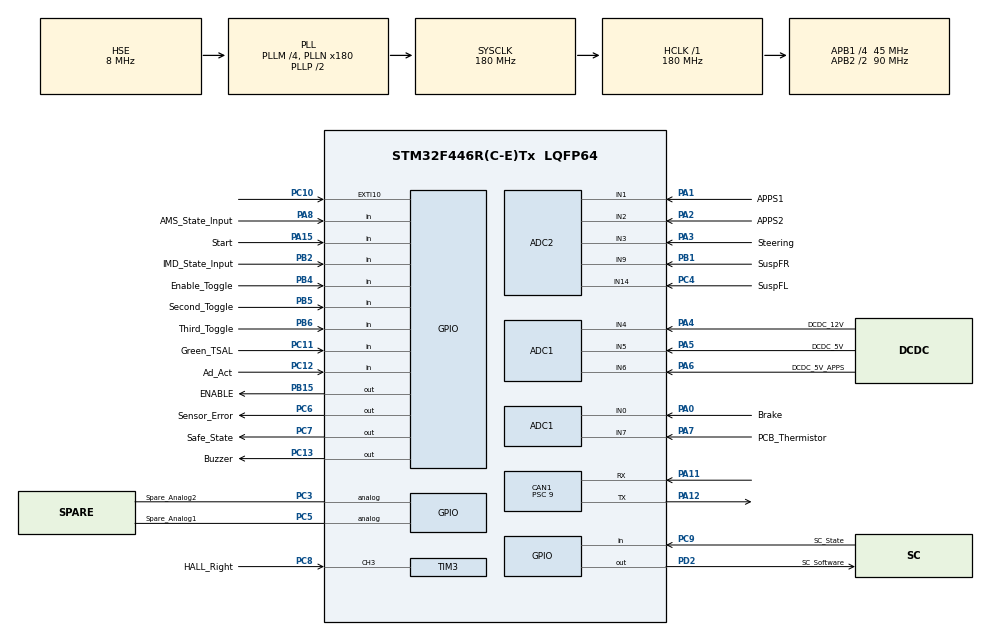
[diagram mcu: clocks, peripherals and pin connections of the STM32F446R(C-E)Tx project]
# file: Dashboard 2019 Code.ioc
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ADC1.Channel-0\#ChannelRegularConversion=ADC_CHANNEL_0
ADC1.Channel-11\#ChannelRegularConversion=ADC_CHANNEL_5
ADC1.InjNumberOfConversion=0
ADC1.NbrOfConversion=2
ADC1.NbrOfConversionFlag=1
ADC1.Rank-0\#ChannelRegularConversion=1
ADC1.Rank-11\#ChannelRegularConversion=2
ADC1.SamplingTime-0\#ChannelRegularConversion=ADC_SAMPLETIME_84CYCLES
ADC1.SamplingTime-11\#ChannelRegularConversion=ADC_SAMPLETIME_84CYCLES
ADC1.ScanConvMode=ENABLE
ADC1.master=1
ADC2.Channel-27\#ChannelRegularConversion=ADC_CHANNEL_1
ADC2.Channel-28\#ChannelRegularConversion=ADC_CHANNEL_2
ADC2.NbrOfConversion=2
ADC2.NbrOfConversionFlag=1
ADC2.Rank-27\#ChannelRegularConversion=1
ADC2.Rank-28\#ChannelRegularConversion=2
ADC2.SamplingTime-27\#ChannelRegularConversion=ADC_SAMPLETIME_84CYCLES
ADC2.SamplingTime-28\#ChannelRegularConversion=ADC_SAMPLETIME_84CYCLES
ADC2.ScanConvMode=ENABLE
CAN1.BS1=CAN_BS1_3TQ
CAN1.CalculateTimeQuantum=200.0
CAN1.Prescaler=9
Mcu.Family=STM32F4
Mcu.Name=STM32F446R(C-E)Tx
Mcu.Package=LQFP64
NVIC.CAN1_RX0_IRQn=true\:0\:0\:false\:false\:true\:true
NVIC.PriorityGroup=NVIC_PRIORITYGROUP_4
NVIC.TIM2_IRQn=true\:0\:0\:false\:false\:true\:true
NVIC.TIM3_IRQn=true\:0\:0\:false\:false\:true\:true
NVIC.TIM6_DAC_IRQn=true\:0\:0\:false\:false\:true\:true
PA0-WKUP.GPIO_Label=Brake
PA0-WKUP.Signal=ADCx_IN0
PA1.GPIO_Label=APPS1
PA1.Signal=ADCx_IN1
PA11.Mode=Master
PA11.Signal=CAN1_RX
PA12.Mode=Master
PA12.Signal=CAN1_TX
PA13.Mode=Trace_Asynchronous_SW
PA13.Signal=SYS_JTMS-SWDIO
PA14.Mode=Trace_Asynchronous_SW
PA14.Signal=SYS_JTCK-SWCLK
PA15.GPIO_Label=Start
PA15.Signal=GPIO_Input
PA2.GPIO_Label=APPS2
PA2.Signal=ADCx_IN2
PA3.GPIO_Label=Steering
PA3.Signal=ADCx_IN3
PA4.GPIO_Label=DCDC_12V
PA4.Signal=ADCx_IN4
PA5.GPIO_Label=DCDC_5V
PA5.Signal=ADCx_IN5
PA6.GPIO_Label=DCDC_5V_APPS
PA6.Signal=ADCx_IN6
PA7.GPIO_Label=PCB_Thermistor
PA7.Signal=ADCx_IN7
PA8.GPIO_Label=AMS_State_Input
PA8.Signal=GPIO_Input
PB1.GPIO_Label=SuspFR
PB1.Signal=ADCx_IN9
PB15.GPIO_Label=ENABLE
PB15.Signal=GPIO_Output
PB2.GPIO_Label=IMD_State_Input
PB2.Signal=GPIO_Input
PB3.Mode=Trace_Asynchronous_SW
PB3.Signal=SYS_JTDO-SWO
PB4.GPIO_Label=Enable_Toggle
PB4.Signal=GPIO_Input
PB5.GPIO_Label=Second_Toggle
PB5.Signal=GPIO_Input
PB6.GPIO_Label=Third_Toggle
PB6.Signal=GPIO_Input
PB9.GPIO_Label=Fans_PWM
PB9.Signal=S_TIM11_CH1
PC10.Signal=GPXTI10
PC11.GPIO_Label=Green_TSAL
PC11.Signal=GPIO_Input
PC12.GPIO_Label=Ad_Act
PC12.Signal=GPIO_Input
PC13.GPIO_Label=Buzzer
PC13.Signal=GPIO_Output
PC3.GPIO_Label=Spare_Analog2
PC3.Signal=GPIO_Analog
PC4.GPIO_Label=SuspFL
PC4.Signal=ADCx_IN14
PC5.GPIO_Label=Spare_Analog1
PC5.Signal=GPIO_Analog
PC6.GPIO_Label=Sensor_Error
PC6.Signal=GPIO_Output
PC7.GPIO_Label=Safe_State
PC7.Signal=GPIO_Output
PC8.GPIO_Label=HALL_Right
PC8.Signal=S_TIM3_CH3
PC9.GPIO_Label=SC_State
PC9.Signal=GPIO_Input
PD2.GPIO_Label=SC_Software
PD2.Signal=GPIO_Output
PH0-OSC_IN.Mode=HSE-External-Oscillator
PH0-OSC_IN.Signal=RCC_OSC_IN
PH1-OSC_OUT.Mode=HSE-External-Oscillator
PH1-OSC_OUT.Signal=RCC_OSC_OUT
ProjectManager.HeapSize=0x200
ProjectManager.StackSize=0x400
ProjectManager.TargetToolchain=MDK-ARM V5
RCC.AHBFreq_Value=180000000
RCC.APB1CLKDivider=RCC_HCLK_DIV4
RCC.APB1Freq_Value=45000000
RCC.APB1TimFreq_Value=90000000
RCC.APB2CLKDivider=RCC_HCLK_DIV2
RCC.APB2Freq_Value=90000000
RCC.APB2TimFreq_Value=180000000
RCC.CortexFreq_Value=180000000
RCC.HCLKFreq_Value=180000000
RCC.HSE_VALUE=8000000
RCC.PLLM=4
RCC.PLLN=180
RCC.PLLSourceVirtual=RCC_PLLSOURCE_HSE
RCC.SYSCLKFreq_VALUE=180000000
RCC.SYSCLKSource=RCC_SYSCLKSOURCE_PLLCLK
RCC.USBFreq_Value=180000000
RCC.VCOOutputFreq_Value=360000000
SH.ADCx_IN0.0=ADC1_IN0,IN0
SH.ADCx_IN1.0=ADC2_IN1,IN1
SH.ADCx_IN14.0=ADC2_IN14,IN14
SH.ADCx_IN2.0=ADC2_IN2,IN2
SH.ADCx_IN3.0=ADC2_IN3,IN3
SH.ADCx_IN4.0=ADC1_IN4,IN4
SH.ADCx_IN5.0=ADC1_IN5,IN5
SH.ADCx_IN6.0=ADC1_IN6,IN6
SH.ADCx_IN7.0=ADC1_IN7,IN7
SH.ADCx_IN9.0=ADC2_IN9,IN9
SH.S_TIM11_CH1.0=TIM11_CH1
SH.S_TIM3_CH3.0=TIM3_CH3,Input_Capture3_from_TI3
TIM11.Period=100
TIM11.Prescaler=180
TIM2.Period=1000
TIM2.Prescaler=90
TIM3.Channel-Input_Capture3_from_TI3=TIM_CHANNEL_3
TIM3.ICFilter_CH3=15
TIM3.ICPolarity_CH3=TIM_INPUTCHANNELPOLARITY_FALLING
TIM3.Period=65535
TIM3.Prescaler=90
TIM6.Period=10000
TIM6.Prescaler=90
VP_ADC1_TempSens_Input.Mode=IN-TempSens
VP_TIM11_VS_ClockSourceINT.Mode=Enable_Timer
VP_TIM2_VS_ClockSourceINT.Mode=Internal
VP_TIM6_VS_ClockSourceINT.Mode=Enable_Timer
board=custom

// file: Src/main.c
/* USER CODE BEGIN Header */
/**
  ******************************************************************************
  * @file           : main.c
  * @brief          : Main program body
  ******************************************************************************
  ** This notice applies to any and all portions of this file
  * that are not between comment pairs USER CODE BEGIN and
  * USER CODE END. Other portions of this file, whether
  * inserted by the user or by software development tools
  * are owned by their respective copyright owners.
  *
  * COPYRIGHT(c) 2019 STMicroelectronics
  *
  * Redistribution and use in source and binary forms, with or without modification,
  * are permitted provided that the following conditions are met:
  *   1. Redistributions of source code must retain the above copyright notice,
  *      this list of conditions and the following disclaimer.
  *   2. Redistributions in binary form must reproduce the above copyright notice,
  *      this list of conditions and the following disclaimer in the documentation
  *      and/or other materials provided with the distribution.
  *   3. Neither the name of STMicroelectronics nor the names of its contributors
  *      may be used to endorse or promote products derived from this software
  *      without specific prior written permission.
  *
  * THIS SOFTWARE IS PROVIDED BY THE COPYRIGHT HOLDERS AND CONTRIBUTORS "AS IS"
  * AND ANY EXPRESS OR IMPLIED WARRANTIES, INCLUDING, BUT NOT LIMITED TO, THE
  * IMPLIED WARRANTIES OF MERCHANTABILITY AND FITNESS FOR A PARTICULAR PURPOSE ARE
  * DISCLAIMED. IN NO EVENT SHALL THE COPYRIGHT HOLDER OR CONTRIBUTORS BE LIABLE
  * FOR ANY DIRECT, INDIRECT, INCIDENTAL, SPECIAL, EXEMPLARY, OR CONSEQUENTIAL
  * DAMAGES (INCLUDING, BUT NOT LIMITED TO, PROCUREMENT OF SUBSTITUTE GOODS OR
  * SERVICES; LOSS OF USE, DATA, OR PROFITS; OR BUSINESS INTERRUPTION) HOWEVER
  * CAUSED AND ON ANY THEORY OF LIABILITY, WHETHER IN CONTRACT, STRICT LIABILITY,
  * OR TORT (INCLUDING NEGLIGENCE OR OTHERWISE) ARISING IN ANY WAY OUT OF THE USE
  * OF THIS SOFTWARE, EVEN IF ADVISED OF THE POSSIBILITY OF SUCH DAMAGE.
  *
  ******************************************************************************
  */
/* USER CODE END Header */

#include "main.h"

ADC_HandleTypeDef hadc1;
ADC_HandleTypeDef hadc2;

CAN_HandleTypeDef hcan1;

TIM_HandleTypeDef htim2;
TIM_HandleTypeDef htim3;
TIM_HandleTypeDef htim6;
TIM_HandleTypeDef htim11;

/* USER CODE BEGIN PV */

// Type Definitions //
CAN_RxHeaderTypeDef canRX;
CAN_TxHeaderTypeDef canTX;
CAN_FilterTypeDef sFilterConfig;

uint8_t CAN_1000Hz_Flag = 0;
uint32_t CAN_1000Hz_Cnt = 0;
uint8_t CAN_100Hz_Flag = 0;
uint32_t CAN_100Hz_Cnt = 0;
uint8_t CAN_Rx_Flag = 0;
uint8_t CAN_Id = 0;
uint8_t CAN_Rx_Data[8] = {0,0,0,0,0,0,0,0};
uint8_t CAN_Tx_Data[8] = {0,0,0,0,0,0,0,0};
uint8_t CAN_Txing = 0;
uint16_t CAN_Msg_Id = 0;
uint32_t CAN_Tx_Mailbox = 0;

uint16_t Brake = 0;
uint16_t APPS1 = 0;
uint16_t APPS2 = 0;
uint16_t Steering = 0;
uint16_t DCDC_12V= 0;
uint16_t DCDC_5V = 0;
uint16_t DCDC_5V_APPS = 0;
uint16_t PCB_Thermistor = 0;
uint16_t SuspFL = 0;
uint16_t SuspFR = 0;
uint16_t Core_Thermistor = 0;

uint16_t Hall_Right = 0;
uint16_t Hall_Left = 0;

uint8_t Enable_Toggle = 0;
uint8_t Second_Toggle = 0;
uint8_t Third_Toggle = 0;
uint8_t Start = 0;
uint8_t Ad_Act = 0;
uint8_t Green_TSAL = 0;
uint8_t SC_State = 0;
uint8_t IMD_State = 0;
uint8_t BMS_State = 0;
uint8_t Fans_PWM = 0;
uint8_t Buzzer = 0;
uint8_t Sensor_Error = 0;
uint8_t ENABLE_SIGNAL = 0;
uint8_t Safe_State = 0;
uint8_t SC_Software = 0;
uint32_t Msg_101_Cnt = 0;
uint32_t Msg_198_Cnt = 0;
uint32_t Msg_246_Cnt = 0;
uint32_t Msg_279_Cnt = 0;

uint16_t counter = 0;

/* USER CODE END PV */

void SystemClock_Config(void);
static void MX_GPIO_Init(void);
static void MX_CAN1_Init(void);
static void MX_ADC1_Init(void);
static void MX_TIM6_Init(void);
static void MX_TIM3_Init(void);
static void MX_TIM2_Init(void);
static void MX_ADC2_Init(void);
static void MX_TIM11_Init(void);

int main(void)
{

  /* MCU Configuration--------------------------------------------------------*/

  /* Reset of all peripherals, Initializes the Flash interface and the Systick. */
  HAL_Init();

  /* Configure the system clock */
  SystemClock_Config();

  /* Initialize all configured peripherals */
  MX_GPIO_Init();
  MX_CAN1_Init();
  MX_ADC1_Init();
  MX_TIM6_Init();
  MX_TIM3_Init();
  MX_TIM2_Init();
  MX_ADC2_Init();
  MX_TIM11_Init();
  /* USER CODE BEGIN 2 */
	HAL_TIM_IC_Start_IT(&htim3, TIM_CHANNEL_3);		//interrupt for Hall_Right sensor
	HAL_TIM_Base_Start_IT(&htim2);								//interrupt for  1ms timer
	HAL_TIM_Base_Start_IT(&htim6);								//interrupt for 10ms timer
	HAL_TIM_PWM_Start(&htim11,TIM_CHANNEL_1);

	sFilterConfig.FilterBank = 0;
	sFilterConfig.FilterMode = CAN_FILTERMODE_IDMASK;
	sFilterConfig.FilterScale = CAN_FILTERSCALE_32BIT;
	sFilterConfig.FilterIdHigh = 0x0000;
	sFilterConfig.FilterIdLow = 0x0000;
	sFilterConfig.FilterMaskIdHigh = 0x0000;
	sFilterConfig.FilterMaskIdLow = 0x0000;
	sFilterConfig.FilterFIFOAssignment = 0x0000;
	sFilterConfig.FilterActivation = ENABLE;
	sFilterConfig.SlaveStartFilterBank = 14;

	if(HAL_CAN_ConfigFilter(&hcan1, &sFilterConfig) != HAL_OK)
	{
		/* Filter configuration Error */
		Error_Handler();
	}

	if(HAL_CAN_Start(&hcan1) != HAL_OK)
	{
		/* CAN Module 1 Start Error */
		Error_Handler();
	}

	if(HAL_CAN_ActivateNotification(&hcan1, CAN_IT_RX_FIFO0_MSG_PENDING) != HAL_OK)
	{
		/* CAN Module 1 Receive FIFO0 Interrupt Error */
		Error_Handler();
	}
  /* USER CODE END 2 */

  /* Infinite loop */
  /* USER CODE BEGIN WHILE */
  while (1)
  {
		if(CAN_1000Hz_Flag)
		{
			HAL_ADC_Start(&hadc2);
			HAL_ADC_PollForConversion(&hadc2, 1);
			APPS1 = HAL_ADC_GetValue(&hadc2);
			HAL_ADC_PollForConversion(&hadc2, 1);
			APPS2 = HAL_ADC_GetValue(&hadc2);
			HAL_ADC_Stop(&hadc2);

			canTX.StdId = 101;
			canTX.DLC = 6;

			CAN_Tx_Data[0] = (APPS1 >> 8) & 255U;
			CAN_Tx_Data[1] = APPS1 & 255U;
			CAN_Tx_Data[2] = (APPS2 >> 8) & 255U;
			CAN_Tx_Data[3] = APPS2 & 255U;
			CAN_Tx_Data[4] = (Hall_Right >> 8) & 255U;
			CAN_Tx_Data[5] = Hall_Right & 255U;

			/*HAL_ADC_Start(&hadc2);
			HAL_ADC_PollForConversion(&hadc2, 1);
			Brake = HAL_ADC_GetValue(&hadc2);
			HAL_ADC_PollForConversion(&hadc2, 1);
			APPS1 = HAL_ADC_GetValue(&hadc2);
			HAL_ADC_Stop(&hadc2);
			HAL_ADC_PollForConversion(&hadc2, 1);
			APPS2 = HAL_ADC_GetValue(&hadc2);
			HAL_ADC_PollForConversion(&hadc2, 1);
			Steering = HAL_ADC_GetValue(&hadc2);
			HAL_ADC_PollForConversion(&hadc2, 1);
			SuspFL = HAL_ADC_GetValue(&hadc2);
			HAL_ADC_PollForConversion(&hadc2, 1);
			SuspFR = HAL_ADC_GetValue(&hadc2);

			canTX.StdId = 101;
			canTX.DLC = 8;

			CAN_Tx_Data[0] = (Brake >> 8) & 255U;
			CAN_Tx_Data[1] = Brake & 255U;
			CAN_Tx_Data[2] = (APPS1 >> 8) & 255U;
			CAN_Tx_Data[3] = APPS1 & 255U;
			CAN_Tx_Data[4] = (APPS2 >> 8) & 255U;
			CAN_Tx_Data[5] = APPS2 & 255U;
			CAN_Tx_Data[6] = (Steering >> 8) & 255U;
			CAN_Tx_Data[7] = Steering & 255U;*/

			while(HAL_CAN_IsTxMessagePending(&hcan1,CAN_Tx_Mailbox));
			CAN_Txing = 0;

			if((HAL_CAN_AddTxMessage(&hcan1, &canTX, CAN_Tx_Data, &CAN_Tx_Mailbox) == HAL_OK))
			{
				CAN_Txing = 1;
			}

			//while(HAL_CAN_IsTxMessagePending(&hcan1,CAN_Tx_Mailbox));
			// CAN_Txing = 0;

			/*canTX.StdId = 198;
			canTX.DLC = 8;

			CAN_Tx_Data[0] = (SuspFL >> 8) & 255U;
			CAN_Tx_Data[1] = SuspFL & 255U;
			CAN_Tx_Data[2] = (SuspFR >> 8) & 255U;
			CAN_Tx_Data[3] = SuspFR & 255U;
			CAN_Tx_Data[4] = (Hall_Right >> 8) & 255U;
			CAN_Tx_Data[5] = Hall_Right & 255U;
			CAN_Tx_Data[6] = (Hall_Left >> 8) & 255U;
			CAN_Tx_Data[7] = Hall_Left & 255U;

			if((HAL_CAN_AddTxMessage(&hcan1, &canTX, CAN_Tx_Data, &CAN_Tx_Mailbox) == HAL_OK))
			{
				CAN_Txing = 1;
			}

			while(HAL_CAN_IsTxMessagePending(&hcan1,CAN_Tx_Mailbox));
			Msg_198_Cnt++;*/
			CAN_Txing = 0;

			CAN_1000Hz_Flag = 0;
		}

		if(CAN_100Hz_Flag)
		{
			HAL_ADC_Start(&hadc1);
			HAL_ADC_PollForConversion (&hadc1, 1);
			Brake = HAL_ADC_GetValue(&hadc1);
			HAL_ADC_PollForConversion (&hadc1, 1);
			DCDC_5V_APPS = HAL_ADC_GetValue(&hadc1);
			HAL_ADC_Stop(&hadc1);

			canTX.StdId = 198;
			canTX.DLC = 4;

			CAN_Tx_Data[0] = (Brake >> 8) & 255U;
			CAN_Tx_Data[1] = Brake & 255U;
			CAN_Tx_Data[2] = (DCDC_5V_APPS >> 8) & 255U;
			CAN_Tx_Data[3] = DCDC_5V_APPS & 255U;

			/*HAL_ADC_Start(&hadc1);
			HAL_ADC_PollForConversion (&hadc1, 1);
			DCDC_12V = HAL_ADC_GetValue(&hadc1);
			HAL_ADC_PollForConversion (&hadc1, 1);
			DCDC_5V = HAL_ADC_GetValue(&hadc1);
			HAL_ADC_PollForConversion (&hadc1, 1);
			DCDC_5V_APPS = HAL_ADC_GetValue(&hadc1);
			HAL_ADC_PollForConversion (&hadc1, 1);
			PCB_Thermistor = HAL_ADC_GetValue(&hadc1);
			HAL_ADC_PollForConversion (&hadc1, 1);
			Core_Thermistor = HAL_ADC_GetValue(&hadc1);
			HAL_ADC_Stop(&hadc1);

			canTX.StdId = 246;
			canTX.DLC = 8;

			CAN_Tx_Data[0] = (DCDC_12V >> 8) & 255U;
			CAN_Tx_Data[1] = DCDC_12V & 255U;
			CAN_Tx_Data[2] = (DCDC_5V >> 8) & 255U;
			CAN_Tx_Data[3] = DCDC_5V & 255U;
			CAN_Tx_Data[4] = (DCDC_5V_APPS >> 8) & 255U;
			CAN_Tx_Data[5] = DCDC_5V_APPS & 255U;
			CAN_Tx_Data[6] = (PCB_Thermistor >> 8) & 255U;
			CAN_Tx_Data[7] = PCB_Thermistor & 255U;*/

			while(HAL_CAN_IsTxMessagePending(&hcan1,CAN_Tx_Mailbox));
			CAN_Txing = 0;

			if((HAL_CAN_AddTxMessage(&hcan1, &canTX, CAN_Tx_Data, &CAN_Tx_Mailbox) == HAL_OK))
			{
				CAN_Txing = 1;
			}

			//while(HAL_CAN_IsTxMessagePending(&hcan1,CAN_Tx_Mailbox));
			//CAN_Txing = 0;

			Enable_Toggle = !HAL_GPIO_ReadPin(Enable_Toggle_GPIO_Port,Enable_Toggle_Pin);
			Second_Toggle = !HAL_GPIO_ReadPin(Second_Toggle_GPIO_Port,Second_Toggle_Pin);
			Third_Toggle = !HAL_GPIO_ReadPin(Third_Toggle_GPIO_Port, Third_Toggle_Pin);
			Start = !HAL_GPIO_ReadPin(Start_GPIO_Port,Start_Pin);
			Ad_Act = HAL_GPIO_ReadPin(Ad_Act_GPIO_Port,Ad_Act_Pin);
			Green_TSAL = HAL_GPIO_ReadPin(Green_TSAL_GPIO_Port,Green_TSAL_Pin);
			SC_State = HAL_GPIO_ReadPin(SC_State_GPIO_Port,SC_State_Pin);
			IMD_State = HAL_GPIO_ReadPin(IMD_State_Input_GPIO_Port,IMD_State_Input_Pin);
			BMS_State = HAL_GPIO_ReadPin(AMS_State_Input_GPIO_Port,AMS_State_Input_Pin);

			canTX.StdId = 279;
			canTX.DLC = 7;

		/*	CAN_Tx_Data[0] = (Core_Thermistor >> 8) & 255U;
			CAN_Tx_Data[1] = Core_Thermistor & 255U;
			CAN_Tx_Data[2] = (13 * Enable_Toggle) & 255U;
			CAN_Tx_Data[2] = ((13 * Second_Toggle) << 4) & 255U;
			CAN_Tx_Data[3] = (13 * Third_Toggle) & 255U;
			CAN_Tx_Data[3] = ((13 * Start) << 4) & 255U;
			CAN_Tx_Data[4] = (13 * Ad_Act) & 255U;
			CAN_Tx_Data[4] = ((13 * Green_TSAL) << 4) & 255U;
			CAN_Tx_Data[5] = (13 * SC_State) & 255U;
			CAN_Tx_Data[5] = ((13 * IMD_State) << 4) & 255U;
			CAN_Tx_Data[6] = (13 * BMS_State) & 255U; */

			CAN_Tx_Data[0] = Enable_Toggle;
			CAN_Tx_Data[1] = Second_Toggle;
			CAN_Tx_Data[2] = Third_Toggle;
			CAN_Tx_Data[3] = Start;
			CAN_Tx_Data[4] = Ad_Act;
			CAN_Tx_Data[5] = Green_TSAL;
			CAN_Tx_Data[6] = SC_State;

			while(HAL_CAN_IsTxMessagePending(&hcan1,CAN_Tx_Mailbox));
			CAN_Txing = 0;

			if((HAL_CAN_AddTxMessage(&hcan1, &canTX, CAN_Tx_Data, &CAN_Tx_Mailbox) == HAL_OK))
			{
				CAN_Txing = 1;
			}

			//while(HAL_CAN_IsTxMessagePending(&hcan1,CAN_Tx_Mailbox));
			//CAN_Txing = 0;

			CAN_100Hz_Flag = 0;
		}

		if(CAN_Rx_Flag)
		{
			CAN_Msg_Id = canRX.StdId;

			if(CAN_Msg_Id == 204)
			{
				Fans_PWM = CAN_Rx_Data[0];
				Safe_State = CAN_Rx_Data[1] & 15U;
				Buzzer = (CAN_Rx_Data[1] >> 4) & 15U;
				Sensor_Error = CAN_Rx_Data[2] & 15U;
			  ENABLE_SIGNAL = (CAN_Rx_Data[2] >> 4) & 15U;
				SC_Software = CAN_Rx_Data[3] & 255U;

				if(Fans_PWM > 100)
				{
					htim11.Instance->CCR1 = 100;
				}
				else
				{
					htim11.Instance->CCR1 = Fans_PWM;
				}
				if(Safe_State == 13)
				{
					HAL_GPIO_WritePin(Safe_State_GPIO_Port, Safe_State_Pin, GPIO_PIN_SET);
				}
				else
				{
					HAL_GPIO_WritePin(Safe_State_GPIO_Port, Safe_State_Pin, GPIO_PIN_RESET);
				}
				if(Buzzer == 13)
				{
					HAL_GPIO_WritePin(Buzzer_GPIO_Port, Buzzer_Pin, GPIO_PIN_SET);
				}
				else
				{
					HAL_GPIO_WritePin(Buzzer_GPIO_Port, Buzzer_Pin, GPIO_PIN_RESET);
				}

				if(Sensor_Error == 13)
				{
					HAL_GPIO_WritePin(Sensor_Error_GPIO_Port,Sensor_Error_Pin,GPIO_PIN_SET);
				}
				else
				{
					HAL_GPIO_WritePin(Sensor_Error_GPIO_Port,Sensor_Error_Pin,GPIO_PIN_RESET);
				}

				if(ENABLE_SIGNAL == 13)
				{
					HAL_GPIO_WritePin(ENABLE_GPIO_Port,ENABLE_Pin,GPIO_PIN_SET);
				}
				else
				{
					HAL_GPIO_WritePin(ENABLE_GPIO_Port,ENABLE_Pin,GPIO_PIN_RESET);
				}

				if(SC_Software == 13)
				{
				HAL_GPIO_WritePin(SC_Software_GPIO_Port,SC_Software_Pin,GPIO_PIN_SET);
				}
				else
				{
				HAL_GPIO_WritePin(SC_Software_GPIO_Port,SC_Software_Pin,GPIO_PIN_RESET);
				}
			}

			CAN_Rx_Flag = 0;
		}
    /* USER CODE END WHILE */

  }
}

void SystemClock_Config(void)
{
  RCC_OscInitTypeDef RCC_OscInitStruct = {0};
  RCC_ClkInitTypeDef RCC_ClkInitStruct = {0};

  /**Configure the main internal regulator output voltage
  */
  __HAL_RCC_PWR_CLK_ENABLE();
  __HAL_PWR_VOLTAGESCALING_CONFIG(PWR_REGULATOR_VOLTAGE_SCALE1);
  /**Initializes the CPU, AHB and APB busses clocks
  */
  RCC_OscInitStruct.OscillatorType = RCC_OSCILLATORTYPE_HSE;
  RCC_OscInitStruct.HSEState = RCC_HSE_ON;
  RCC_OscInitStruct.PLL.PLLState = RCC_PLL_ON;
  RCC_OscInitStruct.PLL.PLLSource = RCC_PLLSOURCE_HSE;
  RCC_OscInitStruct.PLL.PLLM = 4;
  RCC_OscInitStruct.PLL.PLLN = 180;
  RCC_OscInitStruct.PLL.PLLP = RCC_PLLP_DIV2;
  RCC_OscInitStruct.PLL.PLLQ = 2;
  RCC_OscInitStruct.PLL.PLLR = 2;
  if (HAL_RCC_OscConfig(&RCC_OscInitStruct) != HAL_OK)
  {
    Error_Handler();
  }
  /**Activate the Over-Drive mode
  */
  if (HAL_PWREx_EnableOverDrive() != HAL_OK)
  {
    Error_Handler();
  }
  /**Initializes the CPU, AHB and APB busses clocks
  */
  RCC_ClkInitStruct.ClockType = RCC_CLOCKTYPE_HCLK|RCC_CLOCKTYPE_SYSCLK
                              |RCC_CLOCKTYPE_PCLK1|RCC_CLOCKTYPE_PCLK2;
  RCC_ClkInitStruct.SYSCLKSource = RCC_SYSCLKSOURCE_PLLCLK;
  RCC_ClkInitStruct.AHBCLKDivider = RCC_SYSCLK_DIV1;
  RCC_ClkInitStruct.APB1CLKDivider = RCC_HCLK_DIV4;
  RCC_ClkInitStruct.APB2CLKDivider = RCC_HCLK_DIV2;

  if (HAL_RCC_ClockConfig(&RCC_ClkInitStruct, FLASH_LATENCY_5) != HAL_OK)
  {
    Error_Handler();
  }
}

static void MX_ADC1_Init(void)
{

  ADC_ChannelConfTypeDef sConfig = {0};

  /**Configure the global features of the ADC (Clock, Resolution, Data Alignment and number of conversion)
  */
  hadc1.Instance = ADC1;
  hadc1.Init.ClockPrescaler = ADC_CLOCK_SYNC_PCLK_DIV4;
  hadc1.Init.Resolution = ADC_RESOLUTION_12B;
  hadc1.Init.ScanConvMode = ENABLE;
  hadc1.Init.ContinuousConvMode = DISABLE;
  hadc1.Init.DiscontinuousConvMode = DISABLE;
  hadc1.Init.ExternalTrigConvEdge = ADC_EXTERNALTRIGCONVEDGE_NONE;
  hadc1.Init.ExternalTrigConv = ADC_SOFTWARE_START;
  hadc1.Init.DataAlign = ADC_DATAALIGN_RIGHT;
  hadc1.Init.NbrOfConversion = 2;
  hadc1.Init.DMAContinuousRequests = DISABLE;
  hadc1.Init.EOCSelection = ADC_EOC_SINGLE_CONV;
  if (HAL_ADC_Init(&hadc1) != HAL_OK)
  {
    Error_Handler();
  }
  /**Configure for the selected ADC regular channel its corresponding rank in the sequencer and its sample time.
  */
  sConfig.Channel = ADC_CHANNEL_0;
  sConfig.Rank = 1;
  sConfig.SamplingTime = ADC_SAMPLETIME_84CYCLES;
  if (HAL_ADC_ConfigChannel(&hadc1, &sConfig) != HAL_OK)
  {
    Error_Handler();
  }
  /**Configure for the selected ADC regular channel its corresponding rank in the sequencer and its sample time.
  */
  sConfig.Channel = ADC_CHANNEL_5;
  sConfig.Rank = 2;
  if (HAL_ADC_ConfigChannel(&hadc1, &sConfig) != HAL_OK)
  {
    Error_Handler();
  }

}

static void MX_ADC2_Init(void)
{

  ADC_ChannelConfTypeDef sConfig = {0};

  /**Configure the global features of the ADC (Clock, Resolution, Data Alignment and number of conversion)
  */
  hadc2.Instance = ADC2;
  hadc2.Init.ClockPrescaler = ADC_CLOCK_SYNC_PCLK_DIV4;
  hadc2.Init.Resolution = ADC_RESOLUTION_12B;
  hadc2.Init.ScanConvMode = ENABLE;
  hadc2.Init.ContinuousConvMode = DISABLE;
  hadc2.Init.DiscontinuousConvMode = DISABLE;
  hadc2.Init.ExternalTrigConvEdge = ADC_EXTERNALTRIGCONVEDGE_NONE;
  hadc2.Init.ExternalTrigConv = ADC_SOFTWARE_START;
  hadc2.Init.DataAlign = ADC_DATAALIGN_RIGHT;
  hadc2.Init.NbrOfConversion = 2;
  hadc2.Init.DMAContinuousRequests = DISABLE;
  hadc2.Init.EOCSelection = ADC_EOC_SINGLE_CONV;
  if (HAL_ADC_Init(&hadc2) != HAL_OK)
  {
    Error_Handler();
  }
  /**Configure for the selected ADC regular channel its corresponding rank in the sequencer and its sample time.
  */
  sConfig.Channel = ADC_CHANNEL_1;
  sConfig.Rank = 1;
  sConfig.SamplingTime = ADC_SAMPLETIME_84CYCLES;
  if (HAL_ADC_ConfigChannel(&hadc2, &sConfig) != HAL_OK)
  {
    Error_Handler();
  }
  /**Configure for the selected ADC regular channel its corresponding rank in the sequencer and its sample time.
  */
  sConfig.Channel = ADC_CHANNEL_2;
  sConfig.Rank = 2;
  if (HAL_ADC_ConfigChannel(&hadc2, &sConfig) != HAL_OK)
  {
    Error_Handler();
  }

}

static void MX_CAN1_Init(void)
{

  hcan1.Instance = CAN1;
  hcan1.Init.Prescaler = 9;
  hcan1.Init.Mode = CAN_MODE_NORMAL;
  hcan1.Init.SyncJumpWidth = CAN_SJW_1TQ;
  hcan1.Init.TimeSeg1 = CAN_BS1_3TQ;
  hcan1.Init.TimeSeg2 = CAN_BS2_1TQ;
  hcan1.Init.TimeTriggeredMode = DISABLE;
  hcan1.Init.AutoBusOff = DISABLE;
  hcan1.Init.AutoWakeUp = DISABLE;
  hcan1.Init.AutoRetransmission = DISABLE;
  hcan1.Init.ReceiveFifoLocked = DISABLE;
  hcan1.Init.TransmitFifoPriority = DISABLE;
  if (HAL_CAN_Init(&hcan1) != HAL_OK)
  {
    Error_Handler();
  }

}

static void MX_TIM2_Init(void)
{

  TIM_ClockConfigTypeDef sClockSourceConfig = {0};
  TIM_MasterConfigTypeDef sMasterConfig = {0};

  htim2.Instance = TIM2;
  htim2.Init.Prescaler = 90;
  htim2.Init.CounterMode = TIM_COUNTERMODE_UP;
  htim2.Init.Period = 1000;
  htim2.Init.ClockDivision = TIM_CLOCKDIVISION_DIV1;
  if (HAL_TIM_Base_Init(&htim2) != HAL_OK)
  {
    Error_Handler();
  }
  sClockSourceConfig.ClockSource = TIM_CLOCKSOURCE_INTERNAL;
  if (HAL_TIM_ConfigClockSource(&htim2, &sClockSourceConfig) != HAL_OK)
  {
    Error_Handler();
  }
  sMasterConfig.MasterOutputTrigger = TIM_TRGO_RESET;
  sMasterConfig.MasterSlaveMode = TIM_MASTERSLAVEMODE_DISABLE;
  if (HAL_TIMEx_MasterConfigSynchronization(&htim2, &sMasterConfig) != HAL_OK)
  {
    Error_Handler();
  }

}

static void MX_TIM3_Init(void)
{

  TIM_MasterConfigTypeDef sMasterConfig = {0};
  TIM_IC_InitTypeDef sConfigIC = {0};

  htim3.Instance = TIM3;
  htim3.Init.Prescaler = 90;
  htim3.Init.CounterMode = TIM_COUNTERMODE_UP;
  htim3.Init.Period = 65535;
  htim3.Init.ClockDivision = TIM_CLOCKDIVISION_DIV1;
  if (HAL_TIM_IC_Init(&htim3) != HAL_OK)
  {
    Error_Handler();
  }
  sMasterConfig.MasterOutputTrigger = TIM_TRGO_RESET;
  sMasterConfig.MasterSlaveMode = TIM_MASTERSLAVEMODE_DISABLE;
  if (HAL_TIMEx_MasterConfigSynchronization(&htim3, &sMasterConfig) != HAL_OK)
  {
    Error_Handler();
  }
  sConfigIC.ICPolarity = TIM_INPUTCHANNELPOLARITY_FALLING;
  sConfigIC.ICSelection = TIM_ICSELECTION_DIRECTTI;
  sConfigIC.ICPrescaler = TIM_ICPSC_DIV1;
  sConfigIC.ICFilter = 15;
  if (HAL_TIM_IC_ConfigChannel(&htim3, &sConfigIC, TIM_CHANNEL_3) != HAL_OK)
  {
    Error_Handler();
  }

}

static void MX_TIM6_Init(void)
{

  TIM_MasterConfigTypeDef sMasterConfig = {0};

  htim6.Instance = TIM6;
  htim6.Init.Prescaler = 90;
  htim6.Init.CounterMode = TIM_COUNTERMODE_UP;
  htim6.Init.Period = 10000;
  if (HAL_TIM_Base_Init(&htim6) != HAL_OK)
  {
    Error_Handler();
  }
  sMasterConfig.MasterOutputTrigger = TIM_TRGO_RESET;
  sMasterConfig.MasterSlaveMode = TIM_MASTERSLAVEMODE_DISABLE;
  if (HAL_TIMEx_MasterConfigSynchronization(&htim6, &sMasterConfig) != HAL_OK)
  {
    Error_Handler();
  }

}

static void MX_TIM11_Init(void)
{

  htim11.Instance = TIM11;
  htim11.Init.Prescaler = 180;
  htim11.Init.CounterMode = TIM_COUNTERMODE_UP;
  htim11.Init.Period = 100;
  htim11.Init.ClockDivision = TIM_CLOCKDIVISION_DIV1;
  if (HAL_TIM_Base_Init(&htim11) != HAL_OK)
  {
    Error_Handler();
  }

}

static void MX_GPIO_Init(void)
{
  GPIO_InitTypeDef GPIO_InitStruct = {0};

  /* GPIO Ports Clock Enable */
  __HAL_RCC_GPIOC_CLK_ENABLE();
  __HAL_RCC_GPIOH_CLK_ENABLE();
  __HAL_RCC_GPIOA_CLK_ENABLE();
  __HAL_RCC_GPIOB_CLK_ENABLE();
  __HAL_RCC_GPIOD_CLK_ENABLE();

  /*Configure GPIO pin Output Level */
  HAL_GPIO_WritePin(GPIOC, Buzzer_Pin|Sensor_Error_Pin|Safe_State_Pin, GPIO_PIN_RESET);

  /*Configure GPIO pin Output Level */
  HAL_GPIO_WritePin(ENABLE_GPIO_Port, ENABLE_Pin, GPIO_PIN_RESET);

  /*Configure GPIO pin Output Level */
  HAL_GPIO_WritePin(SC_Software_GPIO_Port, SC_Software_Pin, GPIO_PIN_RESET);

  /*Configure GPIO pins : Buzzer_Pin Sensor_Error_Pin Safe_State_Pin */
  GPIO_InitStruct.Pin = Buzzer_Pin|Sensor_Error_Pin|Safe_State_Pin;
  GPIO_InitStruct.Mode = GPIO_MODE_OUTPUT_PP;
  GPIO_InitStruct.Pull = GPIO_NOPULL;
  GPIO_InitStruct.Speed = GPIO_SPEED_FREQ_LOW;
  HAL_GPIO_Init(GPIOC, &GPIO_InitStruct);

  /*Configure GPIO pins : Spare_Analog2_Pin Spare_Analog1_Pin */
  GPIO_InitStruct.Pin = Spare_Analog2_Pin|Spare_Analog1_Pin;
  GPIO_InitStruct.Mode = GPIO_MODE_ANALOG;
  GPIO_InitStruct.Pull = GPIO_NOPULL;
  HAL_GPIO_Init(GPIOC, &GPIO_InitStruct);

  /*Configure GPIO pins : IMD_State_Input_Pin Enable_Toggle_Pin Second_Toggle_Pin Third_Toggle_Pin */
  GPIO_InitStruct.Pin = IMD_State_Input_Pin|Enable_Toggle_Pin|Second_Toggle_Pin|Third_Toggle_Pin;
  GPIO_InitStruct.Mode = GPIO_MODE_INPUT;
  GPIO_InitStruct.Pull = GPIO_NOPULL;
  HAL_GPIO_Init(GPIOB, &GPIO_InitStruct);

  /*Configure GPIO pin : ENABLE_Pin */
  GPIO_InitStruct.Pin = ENABLE_Pin;
  GPIO_InitStruct.Mode = GPIO_MODE_OUTPUT_PP;
  GPIO_InitStruct.Pull = GPIO_NOPULL;
  GPIO_InitStruct.Speed = GPIO_SPEED_FREQ_LOW;
  HAL_GPIO_Init(ENABLE_GPIO_Port, &GPIO_InitStruct);

  /*Configure GPIO pins : SC_State_Pin Green_TSAL_Pin Ad_Act_Pin */
  GPIO_InitStruct.Pin = SC_State_Pin|Green_TSAL_Pin|Ad_Act_Pin;
  GPIO_InitStruct.Mode = GPIO_MODE_INPUT;
  GPIO_InitStruct.Pull = GPIO_NOPULL;
  HAL_GPIO_Init(GPIOC, &GPIO_InitStruct);

  /*Configure GPIO pins : AMS_State_Input_Pin Start_Pin */
  GPIO_InitStruct.Pin = AMS_State_Input_Pin|Start_Pin;
  GPIO_InitStruct.Mode = GPIO_MODE_INPUT;
  GPIO_InitStruct.Pull = GPIO_NOPULL;
  HAL_GPIO_Init(GPIOA, &GPIO_InitStruct);

  /*Configure GPIO pin : PC10 */
  GPIO_InitStruct.Pin = GPIO_PIN_10;
  GPIO_InitStruct.Mode = GPIO_MODE_IT_RISING;
  GPIO_InitStruct.Pull = GPIO_NOPULL;
  HAL_GPIO_Init(GPIOC, &GPIO_InitStruct);

  /*Configure GPIO pin : SC_Software_Pin */
  GPIO_InitStruct.Pin = SC_Software_Pin;
  GPIO_InitStruct.Mode = GPIO_MODE_OUTPUT_PP;
  GPIO_InitStruct.Pull = GPIO_NOPULL;
  GPIO_InitStruct.Speed = GPIO_SPEED_FREQ_LOW;
  HAL_GPIO_Init(SC_Software_GPIO_Port, &GPIO_InitStruct);

}

/* USER CODE BEGIN 4 */
void HAL_TIM_IC_CaptureCallback(TIM_HandleTypeDef *htim)
{
  if(htim->Instance == TIM3)
	{
		Hall_Right = __HAL_TIM_GetCompare(&htim3,TIM_CHANNEL_3);
		__HAL_TIM_SetCounter(&htim3,0);
	}
}

void HAL_TIM_PeriodElapsedCallback(TIM_HandleTypeDef *htim)
{
  if(htim->Instance == TIM2)
	{
		CAN_1000Hz_Flag = 1;
		CAN_1000Hz_Cnt++;

		//tim2_cnt++;
	}
	else if(htim->Instance == TIM6)
	{
		CAN_100Hz_Flag = 1;
		CAN_100Hz_Cnt++;

		//tim6_cnt++;
	}
}

void HAL_CAN_RxFifo0MsgPendingCallback(CAN_HandleTypeDef *hcan)
{
	if (hcan == &hcan1)
	{
		CAN_Rx_Flag = 1;
		HAL_CAN_GetRxMessage(&hcan1, CAN_FILTER_FIFO0, &canRX, CAN_Rx_Data);
	}
}
/* USER CODE END 4 */

void Error_Handler(void)
{
}

/************************ (C) COPYRIGHT STMicroelectronics *****END OF FILE****/
